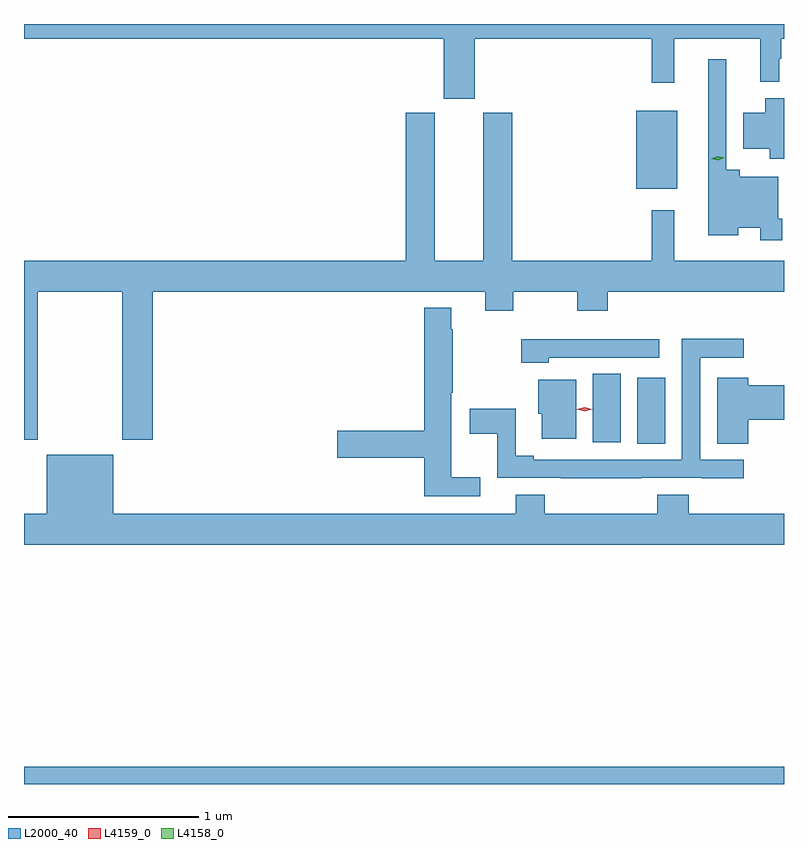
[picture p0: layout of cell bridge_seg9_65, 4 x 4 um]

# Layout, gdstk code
import gdstk
lib = gdstk.Library(unit=1e-6, precision=1e-09)
def R(c, l, rs):  # rectangles x0, y0, x1, y1
    for r in rs: c.add(gdstk.rectangle(r[:2], r[2:], *l))
def P(c, l, *ps):  # polygons
    for p in ps: c.add(gdstk.Polygon(p, *l))
L2000_40 = (2000, 40)
L4158_0 = (4158, 0)
L4159_0 = (4159, 0)

bridge_seg9_65 = lib.new_cell('bridge_seg9_65')
R(bridge_seg9_65, L2000_40, [(1044.584,1177.845,1048.584,1177.936), (1047.812,1179.637,1047.958,1179.982), (1047.578,1179.645,1047.724,1180.004), (1047.806,1180.979,1048.021,1181.389)])
P(bridge_seg9_65, L2000_40, [(1046.956,1181.768),(1047.889,1181.768),(1047.889,1181.535),(1048.007,1181.535),(1048.007,1181.768),(1048.46,1181.768),(1048.46,1181.54),(1048.558,1181.54),(1048.558,1181.661),(1048.57,1181.661),(1048.57,1181.768),(1048.584,1181.768),(1048.584,1181.845),(1044.584,1181.845),(1044.584,1181.768),(1046.792,1181.768),(1046.792,1181.451),(1046.956,1181.451)],
  [(1048.574,1180.819),(1048.554,1180.819),(1048.554,1181.041),(1048.35,1181.041),(1048.35,1181.077),(1048.281,1181.077),(1048.281,1181.659),(1048.184,1181.659),(1048.184,1180.733),(1048.342,1180.733),(1048.342,1180.772),(1048.458,1180.772),(1048.458,1180.707),(1048.574,1180.707)],
  [(1048.584,1181.455),(1048.484,1181.455),(1048.484,1181.377),(1048.37,1181.377),(1048.37,1181.189),(1048.508,1181.189),(1048.508,1181.135),(1048.584,1181.135)],
  [(1044.657,1180.436),(1045.102,1180.436),(1045.102,1179.657),(1045.262,1179.657),(1045.262,1180.436),(1047.011,1180.436),(1047.011,1180.337),(1047.159,1180.337),(1047.159,1180.436),(1047.496,1180.436),(1047.496,1180.337),(1047.656,1180.337),(1047.656,1180.436),(1048.584,1180.436),(1048.584,1180.6),(1048.006,1180.6),(1048.006,1180.864),(1047.889,1180.864),(1047.889,1180.6),(1047.155,1180.6),(1047.155,1181.379),(1047.002,1181.379),(1047.002,1180.6),(1046.746,1180.6),(1046.746,1181.379),(1046.594,1181.379),(1046.594,1180.6),(1044.584,1180.6),(1044.584,1179.657),(1044.657,1179.657)],
  [(1046.986,1179.459),(1046.833,1179.459),(1046.833,1179.904),(1046.841,1179.904),(1046.841,1180.238),(1046.833,1180.238),(1046.833,1180.351),(1046.69,1180.351),(1046.69,1179.704),(1046.232,1179.704),(1046.232,1179.562),(1046.69,1179.562),(1046.69,1179.36),(1046.986,1179.36)],
  [(1047.833,1179.456),(1048.15,1179.456),(1048.15,1179.455),(1048.372,1179.455),(1048.372,1179.552),(1048.143,1179.552),(1048.143,1180.089),(1048.372,1180.089),(1048.372,1180.188),(1048.047,1180.188),(1048.047,1179.552),(1047.268,1179.552),(1047.268,1179.572),(1047.172,1179.572),(1047.172,1179.821),(1046.93,1179.821),(1046.93,1179.689),(1047.075,1179.689),(1047.075,1179.456),(1047.409,1179.456),(1047.409,1179.455),(1047.833,1179.455)],
  [(1047.345,1180.089),(1047.928,1180.089),(1047.928,1180.186),(1047.201,1180.186),(1047.201,1180.061),(1047.345,1180.061)],
  [(1048.397,1179.761),(1048.584,1179.761),(1048.584,1179.944),(1048.397,1179.944),(1048.397,1179.982),(1048.232,1179.982),(1048.232,1179.637),(1048.397,1179.637)],
  [(1047.49,1179.973),(1047.29,1179.973),(1047.29,1179.795),(1047.308,1179.795),(1047.308,1179.662),(1047.49,1179.662)],
  [(1048.584,1179.268),(1048.082,1179.268),(1048.082,1179.367),(1047.917,1179.367),(1047.917,1179.268),(1047.326,1179.268),(1047.326,1179.367),(1047.173,1179.367),(1047.173,1179.268),(1045.054,1179.268),(1045.054,1179.577),(1044.704,1179.577),(1044.704,1179.268),(1044.584,1179.268),(1044.584,1179.104),(1048.584,1179.104)])
P(bridge_seg9_65, L4158_0, [(1048.236,1181.129),(1048.2,1181.136),(1048.2,1181.137),(1048.2,1181.137),(1048.235,1181.149),(1048.271,1181.142),(1048.271,1181.141),(1048.271,1181.141)])
P(bridge_seg9_65, L4159_0, [(1047.534,1179.808),(1047.494,1179.818),(1047.494,1179.818),(1047.494,1179.818),(1047.534,1179.828),(1047.574,1179.818),(1047.575,1179.818),(1047.574,1179.818)])

lib.write_gds('bridge_seg9_65.gds')
